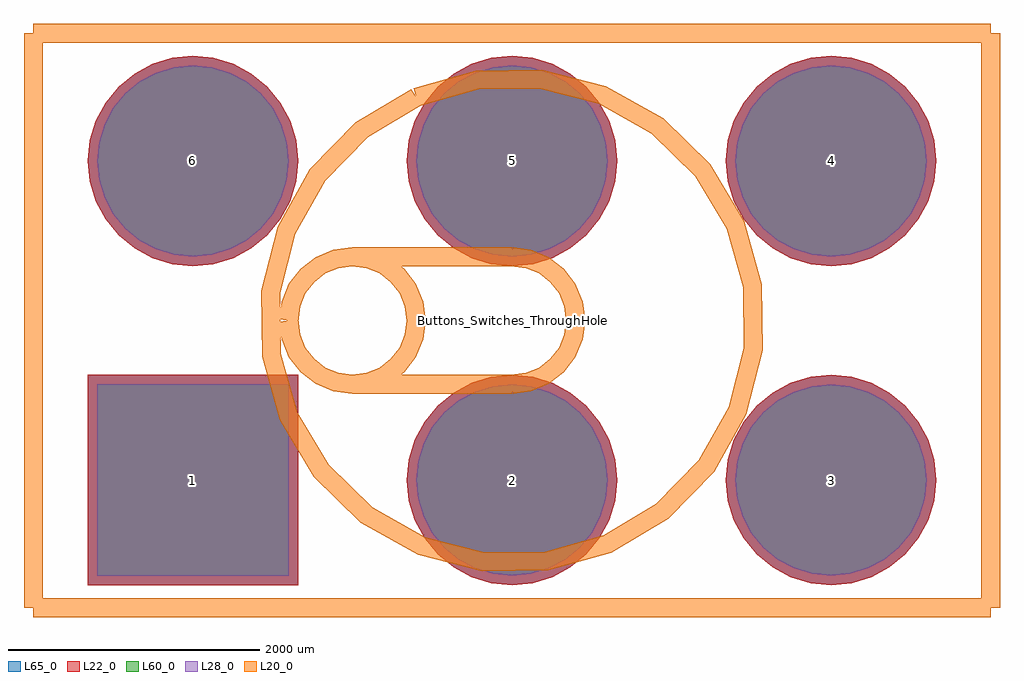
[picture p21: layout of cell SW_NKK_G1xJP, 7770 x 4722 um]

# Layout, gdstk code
import gdstk
lib = gdstk.Library(unit=1e-6, precision=1e-09)
def R(c, l, rs):  # rectangles x0, y0, x1, y1
    for r in rs: c.add(gdstk.rectangle(r[:2], r[2:], *l))
def P(c, l, *ps):  # polygons
    for p in ps: c.add(gdstk.Polygon(p, *l))
L20_0 = (20, 0)
L22_0 = (22, 0)
L28_0 = (28, 0)
L60_0 = (60, 0)
L65_0 = (65, 0)

sw_nkk_g1xjp = lib.new_cell('SW_NKK_G1xJP')
R(sw_nkk_g1xjp, L22_0, [(-3377,-2107,-1703,-433)])
P(sw_nkk_g1xjp, L22_0, [(-1703,1270),(-1719.083,1433.291),(-1766.713,1590.306),(-1844.06,1735.012),(-1948.152,1861.848),(-2074.988,1965.94),(-2219.694,2043.287),(-2376.709,2090.917),(-2540,2107),(-2703.291,2090.917),(-2860.306,2043.287),(-3005.012,1965.94),(-3131.848,1861.848),(-3235.94,1735.012),(-3313.287,1590.306),(-3360.917,1433.291),(-3377,1270),(-3360.917,1106.709),(-3313.287,949.694),(-3235.94,804.988),(-3131.848,678.152),(-3005.012,574.06),(-2860.306,496.713),(-2703.291,449.083),(-2540,433),(-2376.709,449.083),(-2219.694,496.713),(-2074.988,574.06),(-1948.152,678.152),(-1844.06,804.988),(-1766.713,949.694),(-1719.083,1106.709)],
  [(837,1270),(820.917,1433.291),(773.287,1590.306),(695.94,1735.012),(591.848,1861.848),(465.012,1965.94),(320.306,2043.287),(163.291,2090.917),(0,2107),(-163.291,2090.917),(-320.306,2043.287),(-465.012,1965.94),(-591.848,1861.848),(-695.94,1735.012),(-773.287,1590.306),(-820.917,1433.291),(-837,1270),(-820.917,1106.709),(-773.287,949.694),(-695.94,804.988),(-591.848,678.152),(-465.012,574.06),(-320.306,496.713),(-163.291,449.083),(0,433),(163.291,449.083),(320.306,496.713),(465.012,574.06),(591.848,678.152),(695.94,804.988),(773.287,949.694),(820.917,1106.709)],
  [(3377,1270),(3360.917,1433.291),(3313.287,1590.306),(3235.94,1735.012),(3131.848,1861.848),(3005.012,1965.94),(2860.306,2043.287),(2703.291,2090.917),(2540,2107),(2376.709,2090.917),(2219.694,2043.287),(2074.988,1965.94),(1948.152,1861.848),(1844.06,1735.012),(1766.713,1590.306),(1719.083,1433.291),(1703,1270),(1719.083,1106.709),(1766.713,949.694),(1844.06,804.988),(1948.152,678.152),(2074.988,574.06),(2219.694,496.713),(2376.709,449.083),(2540,433),(2703.291,449.083),(2860.306,496.713),(3005.012,574.06),(3131.848,678.152),(3235.94,804.988),(3313.287,949.694),(3360.917,1106.709)],
  [(3377,-1270),(3360.917,-1106.709),(3313.287,-949.694),(3235.94,-804.988),(3131.848,-678.152),(3005.012,-574.06),(2860.306,-496.713),(2703.291,-449.083),(2540,-433),(2376.709,-449.083),(2219.694,-496.713),(2074.988,-574.06),(1948.152,-678.152),(1844.06,-804.988),(1766.713,-949.694),(1719.083,-1106.709),(1703,-1270),(1719.083,-1433.291),(1766.713,-1590.306),(1844.06,-1735.012),(1948.152,-1861.848),(2074.988,-1965.94),(2219.694,-2043.287),(2376.709,-2090.917),(2540,-2107),(2703.291,-2090.917),(2860.306,-2043.287),(3005.012,-1965.94),(3131.848,-1861.848),(3235.94,-1735.012),(3313.287,-1590.306),(3360.917,-1433.291)],
  [(837,-1270),(820.917,-1106.709),(773.287,-949.694),(695.94,-804.988),(591.848,-678.152),(465.012,-574.06),(320.306,-496.713),(163.291,-449.083),(0,-433),(-163.291,-449.083),(-320.306,-496.713),(-465.012,-574.06),(-591.848,-678.152),(-695.94,-804.988),(-773.287,-949.694),(-820.917,-1106.709),(-837,-1270),(-820.917,-1433.291),(-773.287,-1590.306),(-695.94,-1735.012),(-591.848,-1861.848),(-465.012,-1965.94),(-320.306,-2043.287),(-163.291,-2090.917),(0,-2107),(163.291,-2090.917),(320.306,-2043.287),(465.012,-1965.94),(591.848,-1861.848),(695.94,-1735.012),(773.287,-1590.306),(820.917,-1433.291)])
R(sw_nkk_g1xjp, L28_0, [(-3302,-2032,-1778,-508)])
P(sw_nkk_g1xjp, L28_0, [(-1778,1270),(-1792.642,1418.659),(-1836.004,1561.605),(-1906.42,1693.345),(-2001.185,1808.815),(-2116.655,1903.58),(-2248.395,1973.996),(-2391.341,2017.358),(-2540,2032),(-2688.659,2017.358),(-2831.605,1973.996),(-2963.345,1903.58),(-3078.815,1808.815),(-3173.58,1693.345),(-3243.996,1561.605),(-3287.358,1418.659),(-3302,1270),(-3287.358,1121.341),(-3243.996,978.395),(-3173.58,846.655),(-3078.815,731.185),(-2963.345,636.42),(-2831.605,566.004),(-2688.659,522.642),(-2540,508),(-2391.341,522.642),(-2248.395,566.004),(-2116.655,636.42),(-2001.185,731.185),(-1906.42,846.655),(-1836.004,978.395),(-1792.642,1121.341)],
  [(762,1270),(747.358,1418.659),(703.996,1561.605),(633.58,1693.345),(538.815,1808.815),(423.345,1903.58),(291.605,1973.996),(148.659,2017.358),(0,2032),(-148.659,2017.358),(-291.605,1973.996),(-423.345,1903.58),(-538.815,1808.815),(-633.58,1693.345),(-703.996,1561.605),(-747.358,1418.659),(-762,1270),(-747.358,1121.341),(-703.996,978.395),(-633.58,846.655),(-538.815,731.185),(-423.345,636.42),(-291.605,566.004),(-148.659,522.642),(0,508),(148.659,522.642),(291.605,566.004),(423.345,636.42),(538.815,731.185),(633.58,846.655),(703.996,978.395),(747.358,1121.341)],
  [(3302,1270),(3287.358,1418.659),(3243.996,1561.605),(3173.58,1693.345),(3078.815,1808.815),(2963.345,1903.58),(2831.605,1973.996),(2688.659,2017.358),(2540,2032),(2391.341,2017.358),(2248.395,1973.996),(2116.655,1903.58),(2001.185,1808.815),(1906.42,1693.345),(1836.004,1561.605),(1792.642,1418.659),(1778,1270),(1792.642,1121.341),(1836.004,978.395),(1906.42,846.655),(2001.185,731.185),(2116.655,636.42),(2248.395,566.004),(2391.341,522.642),(2540,508),(2688.659,522.642),(2831.605,566.004),(2963.345,636.42),(3078.815,731.185),(3173.58,846.655),(3243.996,978.395),(3287.358,1121.341)],
  [(3302,-1270),(3287.358,-1121.341),(3243.996,-978.395),(3173.58,-846.655),(3078.815,-731.185),(2963.345,-636.42),(2831.605,-566.004),(2688.659,-522.642),(2540,-508),(2391.341,-522.642),(2248.395,-566.004),(2116.655,-636.42),(2001.185,-731.185),(1906.42,-846.655),(1836.004,-978.395),(1792.642,-1121.341),(1778,-1270),(1792.642,-1418.659),(1836.004,-1561.605),(1906.42,-1693.345),(2001.185,-1808.815),(2116.655,-1903.58),(2248.395,-1973.996),(2391.341,-2017.358),(2540,-2032),(2688.659,-2017.358),(2831.605,-1973.996),(2963.345,-1903.58),(3078.815,-1808.815),(3173.58,-1693.345),(3243.996,-1561.605),(3287.358,-1418.659)],
  [(762,-1270),(747.358,-1121.341),(703.996,-978.395),(633.58,-846.655),(538.815,-731.185),(423.345,-636.42),(291.605,-566.004),(148.659,-522.642),(0,-508),(-148.659,-522.642),(-291.605,-566.004),(-423.345,-636.42),(-538.815,-731.185),(-633.58,-846.655),(-703.996,-978.395),(-747.358,-1121.341),(-762,-1270),(-747.358,-1418.659),(-703.996,-1561.605),(-633.58,-1693.345),(-538.815,-1808.815),(-423.345,-1903.58),(-291.605,-1973.996),(-148.659,-2017.358),(0,-2032),(148.659,-2017.358),(291.605,-1973.996),(423.345,-1903.58),(538.815,-1808.815),(633.58,-1693.345),(703.996,-1561.605),(747.358,-1418.659)])
R(sw_nkk_g1xjp, L60_0, [(-3302,-2032,-1778,-508)])
P(sw_nkk_g1xjp, L60_0, [(-1778,1270),(-1792.642,1418.659),(-1836.004,1561.605),(-1906.42,1693.345),(-2001.185,1808.815),(-2116.655,1903.58),(-2248.395,1973.996),(-2391.341,2017.358),(-2540,2032),(-2688.659,2017.358),(-2831.605,1973.996),(-2963.345,1903.58),(-3078.815,1808.815),(-3173.58,1693.345),(-3243.996,1561.605),(-3287.358,1418.659),(-3302,1270),(-3287.358,1121.341),(-3243.996,978.395),(-3173.58,846.655),(-3078.815,731.185),(-2963.345,636.42),(-2831.605,566.004),(-2688.659,522.642),(-2540,508),(-2391.341,522.642),(-2248.395,566.004),(-2116.655,636.42),(-2001.185,731.185),(-1906.42,846.655),(-1836.004,978.395),(-1792.642,1121.341)],
  [(762,1270),(747.358,1418.659),(703.996,1561.605),(633.58,1693.345),(538.815,1808.815),(423.345,1903.58),(291.605,1973.996),(148.659,2017.358),(0,2032),(-148.659,2017.358),(-291.605,1973.996),(-423.345,1903.58),(-538.815,1808.815),(-633.58,1693.345),(-703.996,1561.605),(-747.358,1418.659),(-762,1270),(-747.358,1121.341),(-703.996,978.395),(-633.58,846.655),(-538.815,731.185),(-423.345,636.42),(-291.605,566.004),(-148.659,522.642),(0,508),(148.659,522.642),(291.605,566.004),(423.345,636.42),(538.815,731.185),(633.58,846.655),(703.996,978.395),(747.358,1121.341)],
  [(3302,1270),(3287.358,1418.659),(3243.996,1561.605),(3173.58,1693.345),(3078.815,1808.815),(2963.345,1903.58),(2831.605,1973.996),(2688.659,2017.358),(2540,2032),(2391.341,2017.358),(2248.395,1973.996),(2116.655,1903.58),(2001.185,1808.815),(1906.42,1693.345),(1836.004,1561.605),(1792.642,1418.659),(1778,1270),(1792.642,1121.341),(1836.004,978.395),(1906.42,846.655),(2001.185,731.185),(2116.655,636.42),(2248.395,566.004),(2391.341,522.642),(2540,508),(2688.659,522.642),(2831.605,566.004),(2963.345,636.42),(3078.815,731.185),(3173.58,846.655),(3243.996,978.395),(3287.358,1121.341)],
  [(3302,-1270),(3287.358,-1121.341),(3243.996,-978.395),(3173.58,-846.655),(3078.815,-731.185),(2963.345,-636.42),(2831.605,-566.004),(2688.659,-522.642),(2540,-508),(2391.341,-522.642),(2248.395,-566.004),(2116.655,-636.42),(2001.185,-731.185),(1906.42,-846.655),(1836.004,-978.395),(1792.642,-1121.341),(1778,-1270),(1792.642,-1418.659),(1836.004,-1561.605),(1906.42,-1693.345),(2001.185,-1808.815),(2116.655,-1903.58),(2248.395,-1973.996),(2391.341,-2017.358),(2540,-2032),(2688.659,-2017.358),(2831.605,-1973.996),(2963.345,-1903.58),(3078.815,-1808.815),(3173.58,-1693.345),(3243.996,-1561.605),(3287.358,-1418.659)],
  [(762,-1270),(747.358,-1121.341),(703.996,-978.395),(633.58,-846.655),(538.815,-731.185),(423.345,-636.42),(291.605,-566.004),(148.659,-522.642),(0,-508),(-148.659,-522.642),(-291.605,-566.004),(-423.345,-636.42),(-538.815,-731.185),(-633.58,-846.655),(-703.996,-978.395),(-747.358,-1121.341),(-762,-1270),(-747.358,-1418.659),(-703.996,-1561.605),(-633.58,-1693.345),(-538.815,-1808.815),(-423.345,-1903.58),(-291.605,-1973.996),(-148.659,-2017.358),(0,-2032),(148.659,-2017.358),(291.605,-1973.996),(423.345,-1903.58),(538.815,-1808.815),(633.58,-1693.345),(703.996,-1561.605),(747.358,-1418.659)])
R(sw_nkk_g1xjp, L65_0, [(-3377,-2107,-1703,-433)])
P(sw_nkk_g1xjp, L65_0, [(-1703,1270),(-1719.083,1433.291),(-1766.713,1590.306),(-1844.06,1735.012),(-1948.152,1861.848),(-2074.988,1965.94),(-2219.694,2043.287),(-2376.709,2090.917),(-2540,2107),(-2703.291,2090.917),(-2860.306,2043.287),(-3005.012,1965.94),(-3131.848,1861.848),(-3235.94,1735.012),(-3313.287,1590.306),(-3360.917,1433.291),(-3377,1270),(-3360.917,1106.709),(-3313.287,949.694),(-3235.94,804.988),(-3131.848,678.152),(-3005.012,574.06),(-2860.306,496.713),(-2703.291,449.083),(-2540,433),(-2376.709,449.083),(-2219.694,496.713),(-2074.988,574.06),(-1948.152,678.152),(-1844.06,804.988),(-1766.713,949.694),(-1719.083,1106.709)],
  [(837,1270),(820.917,1433.291),(773.287,1590.306),(695.94,1735.012),(591.848,1861.848),(465.012,1965.94),(320.306,2043.287),(163.291,2090.917),(0,2107),(-163.291,2090.917),(-320.306,2043.287),(-465.012,1965.94),(-591.848,1861.848),(-695.94,1735.012),(-773.287,1590.306),(-820.917,1433.291),(-837,1270),(-820.917,1106.709),(-773.287,949.694),(-695.94,804.988),(-591.848,678.152),(-465.012,574.06),(-320.306,496.713),(-163.291,449.083),(0,433),(163.291,449.083),(320.306,496.713),(465.012,574.06),(591.848,678.152),(695.94,804.988),(773.287,949.694),(820.917,1106.709)],
  [(3377,1270),(3360.917,1433.291),(3313.287,1590.306),(3235.94,1735.012),(3131.848,1861.848),(3005.012,1965.94),(2860.306,2043.287),(2703.291,2090.917),(2540,2107),(2376.709,2090.917),(2219.694,2043.287),(2074.988,1965.94),(1948.152,1861.848),(1844.06,1735.012),(1766.713,1590.306),(1719.083,1433.291),(1703,1270),(1719.083,1106.709),(1766.713,949.694),(1844.06,804.988),(1948.152,678.152),(2074.988,574.06),(2219.694,496.713),(2376.709,449.083),(2540,433),(2703.291,449.083),(2860.306,496.713),(3005.012,574.06),(3131.848,678.152),(3235.94,804.988),(3313.287,949.694),(3360.917,1106.709)],
  [(3377,-1270),(3360.917,-1106.709),(3313.287,-949.694),(3235.94,-804.988),(3131.848,-678.152),(3005.012,-574.06),(2860.306,-496.713),(2703.291,-449.083),(2540,-433),(2376.709,-449.083),(2219.694,-496.713),(2074.988,-574.06),(1948.152,-678.152),(1844.06,-804.988),(1766.713,-949.694),(1719.083,-1106.709),(1703,-1270),(1719.083,-1433.291),(1766.713,-1590.306),(1844.06,-1735.012),(1948.152,-1861.848),(2074.988,-1965.94),(2219.694,-2043.287),(2376.709,-2090.917),(2540,-2107),(2703.291,-2090.917),(2860.306,-2043.287),(3005.012,-1965.94),(3131.848,-1861.848),(3235.94,-1735.012),(3313.287,-1590.306),(3360.917,-1433.291)],
  [(837,-1270),(820.917,-1106.709),(773.287,-949.694),(695.94,-804.988),(591.848,-678.152),(465.012,-574.06),(320.306,-496.713),(163.291,-449.083),(0,-433),(-163.291,-449.083),(-320.306,-496.713),(-465.012,-574.06),(-591.848,-678.152),(-695.94,-804.988),(-773.287,-949.694),(-820.917,-1106.709),(-837,-1270),(-820.917,-1433.291),(-773.287,-1590.306),(-695.94,-1735.012),(-591.848,-1861.848),(-465.012,-1965.94),(-320.306,-2043.287),(-163.291,-2090.917),(0,-2107),(163.291,-2090.917),(320.306,-2043.287),(465.012,-1965.94),(591.848,-1861.848),(695.94,-1735.012),(773.287,-1590.306),(820.917,-1433.291)])
sw_nkk_g1xjp.add(gdstk.FlexPath([(3810,-2286),(-3810,-2286)], 149.998, ends="flush", simple_path=True, layer=20, datatype=0))  # L20_0
sw_nkk_g1xjp.add(gdstk.FlexPath([(-3810,2286),(3810,2286)], 149.998, ends="flush", simple_path=True, layer=20, datatype=0))  # L20_0
sw_nkk_g1xjp.add(gdstk.FlexPath([(-3810,2286),(-3810,-2286)], 149.998, ends="flush", simple_path=True, layer=20, datatype=0))  # L20_0
sw_nkk_g1xjp.add(gdstk.FlexPath([(3810,2286),(3810,-2286)], 149.998, ends="flush", simple_path=True, layer=20, datatype=0))  # L20_0
sw_nkk_g1xjp.add(gdstk.FlexPath([(-762,1778),(-1196.216,1520.196),(-1548.911,1158.793),(-1796.051,718.42),(-1920.793,229.089),(-1914.636,-275.855),(-1778,-762),(-1520.196,-1196.216),(-1158.793,-1548.911),(-718.42,-1796.051),(-229.089,-1920.793),(275.855,-1914.636),(762,-1778),(1196.216,-1520.196),(1548.911,-1158.793),(1796.051,-718.42),(1920.793,-229.089),(1914.636,275.855),(1778,762),(1520.196,1196.216),(1158.793,1548.911),(718.42,1796.051),(229.089,1920.793),(-275.855,1914.636),(-762,1778)], 149.998, ends="flush", simple_path=True, layer=20, datatype=0))  # L20_0
sw_nkk_g1xjp.add(gdstk.FlexPath([(0,-508),(131.48,-490.69),(254,-439.941),(359.21,-359.21),(439.941,-254),(490.69,-131.48),(508,0)], 149.998, ends="flush", simple_path=True, layer=20, datatype=0))  # L20_0
sw_nkk_g1xjp.add(gdstk.FlexPath([(508,0),(490.69,131.48),(439.941,254),(359.21,359.21),(254,439.941),(131.48,490.69),(0,508)], 149.998, ends="flush", simple_path=True, layer=20, datatype=0))  # L20_0
sw_nkk_g1xjp.add(gdstk.FlexPath([(-1270,508),(0,508)], 149.998, ends="flush", simple_path=True, layer=20, datatype=0))  # L20_0
sw_nkk_g1xjp.add(gdstk.FlexPath([(0,-508),(-1270,-508)], 149.998, ends="flush", simple_path=True, layer=20, datatype=0))  # L20_0
sw_nkk_g1xjp.add(gdstk.FlexPath([(-1778,0),(-1760.69,-131.48),(-1709.941,-254),(-1629.21,-359.21),(-1524,-439.941),(-1401.48,-490.69),(-1270,-508),(-1138.52,-490.69),(-1016,-439.941),(-910.79,-359.21),(-830.059,-254),(-779.31,-131.48),(-762,0),(-779.31,131.48),(-830.059,254),(-910.79,359.21),(-1016,439.941),(-1138.52,490.69),(-1270,508),(-1401.48,490.69),(-1524,439.941),(-1629.21,359.21),(-1709.941,254),(-1760.69,131.48),(-1778,0)], 149.998, ends="flush", simple_path=True, layer=20, datatype=0))  # L20_0
sw_nkk_g1xjp.add(gdstk.Label('Buttons_Switches_ThroughHole.3dshapes/SW_NKK_G1xJP.wrl', (0,0), layer=12, texttype=0))
sw_nkk_g1xjp.add(gdstk.Label('6', (-2540,1270), layer=28, texttype=0))
sw_nkk_g1xjp.add(gdstk.Label('5', (0,1270), layer=28, texttype=0))
sw_nkk_g1xjp.add(gdstk.Label('4', (2540,1270), layer=28, texttype=0))
sw_nkk_g1xjp.add(gdstk.Label('3', (2540,-1270), layer=28, texttype=0))
sw_nkk_g1xjp.add(gdstk.Label('2', (0,-1270), layer=28, texttype=0))
sw_nkk_g1xjp.add(gdstk.Label('1', (-2540,-1270), layer=28, texttype=0))
sw_nkk_g1xjp.add(gdstk.Label('type', (254,3302), layer=9, texttype=0))
sw_nkk_g1xjp.add(gdstk.Label('devicename', (0,-3302), layer=9, texttype=0))

lib.write_gds('SW_NKK_G1xJP.gds')
